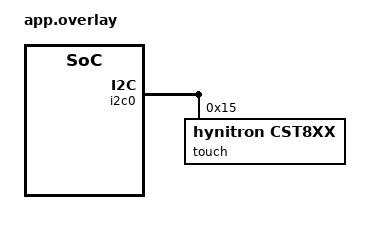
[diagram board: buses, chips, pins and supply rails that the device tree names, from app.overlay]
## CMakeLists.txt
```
# SPDX-License-Identifier: Apache-2.0
cmake_minimum_required(VERSION 3.20.0)
find_package(Zephyr REQUIRED HINTS $ENV{ZEPHYR_BASE})
project(entelea_touch_driver_test)

target_sources(app PRIVATE src/main.c)
```

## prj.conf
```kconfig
# SPDX-License-Identifier: Apache-2.0
CONFIG_ZTEST=y
CONFIG_TS_CORE=n
CONFIG_I2C=y
CONFIG_EMUL=y
CONFIG_I2C_EMUL=y
CONFIG_INPUT=y
CONFIG_INPUT_MODE_SYNCHRONOUS=y
CONFIG_INPUT_CST8XX=y
CONFIG_INPUT_CST8XX_INTERRUPT=n
CONFIG_INPUT_CST8XX_PERIOD_MS=10
```

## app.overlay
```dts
/* SPDX-License-Identifier: Apache-2.0 */
&i2c0 {
	status = "okay";

	touch: touchscreen@15 {
		compatible = "hynitron,cst8xx";
		reg = <0x15>;
		screen-width = <460>;
		screen-height = <460>;
		zephyr,deferred-init;
	};
};
```

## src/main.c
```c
// SPDX-License-Identifier: Apache-2.0
#include <errno.h>
#include <string.h>
#include <zephyr/drivers/emul.h>
#include <zephyr/drivers/i2c.h>
#include <zephyr/drivers/i2c_emul.h>
#include <zephyr/input/input.h>
#include <zephyr/ztest.h>

#define TOUCH DEVICE_DT_GET(DT_NODELABEL(touch))

struct frame {
	int32_t x;
	int32_t y;
	int32_t pressed;
	unsigned int coordinates;
};

static K_SEM_DEFINE(samples, 0, 1);
static K_SEM_DEFINE(read_done, 0, 1);
K_MSGQ_DEFINE(frames, sizeof(struct frame), 4, 4);
static uint8_t registers[256];
static int report_error;
static struct frame current;

static int transfer(const struct emul *target, struct i2c_msg *msgs, int count, int address)
{
	uint8_t reg;

	ARG_UNUSED(target);
	zassert_equal(address, 0x15);
	if (count == 1) {
		zassert_equal(msgs[0].len, 2);
		zassert_false(msgs[0].flags & I2C_MSG_READ);
		registers[msgs[0].buf[0]] = msgs[0].buf[1];
		return 0;
	}
	zassert_equal(count, 2);
	zassert_equal(msgs[0].len, 1);
	reg = msgs[0].buf[0];
	zassert_true(msgs[1].flags & I2C_MSG_READ);
	if (reg >= 2 && reg <= 6) {
		k_sem_take(&samples, K_FOREVER);
		zassert_equal(reg, 2, "Read finger count with coordinates in one transaction");
		zassert_equal(msgs[1].len, 5);
		zassert_true(msgs[1].flags & I2C_MSG_RESTART);
		zassert_true(msgs[1].flags & I2C_MSG_STOP);
		if (!report_error) {
			memcpy(msgs[1].buf, &registers[reg], msgs[1].len);
		}
		k_sem_give(&read_done);
		return report_error;
	}
	zassert_equal(msgs[1].len, 1);
	msgs[1].buf[0] = registers[reg];
	return 0;
}

static const struct i2c_emul_api bus_api = {
	.transfer = transfer,
};

static int emul_init(const struct emul *target, const struct device *parent)
{
	ARG_UNUSED(target);
	ARG_UNUSED(parent);
	registers[0xa7] = 0xb7;
	return 0;
}

EMUL_DT_DEFINE(DT_NODELABEL(touch), emul_init, NULL, NULL, &bus_api, NULL);

static void input_callback(struct input_event *event, void *user_data)
{
	ARG_UNUSED(user_data);
	if (event->type == INPUT_EV_ABS && event->code == INPUT_ABS_X) {
		current.x = event->value;
		current.coordinates++;
	} else if (event->type == INPUT_EV_ABS && event->code == INPUT_ABS_Y) {
		current.y = event->value;
		current.coordinates++;
	} else if (event->type == INPUT_EV_KEY && event->code == INPUT_BTN_TOUCH) {
		current.pressed = event->value;
		zassert_equal(k_msgq_put(&frames, &current, K_NO_WAIT), 0);
		current.coordinates = 0;
	}
}

INPUT_CALLBACK_DEFINE(TOUCH, input_callback, NULL);

static void *setup(void)
{
	zassert_equal(device_init(TOUCH), 0);
	return NULL;
}

static struct frame sample(uint8_t fingers, uint8_t event, uint16_t x, uint16_t y)
{
	struct frame frame;

	registers[2] = fingers;
	registers[3] = (event << 6) | ((x >> 8) & 0x0f);
	registers[4] = x;
	registers[5] = (fingers ? 0xa0 : 0) | ((y >> 8) & 0x0f);
	registers[6] = y;
	report_error = 0;
	k_sem_give(&samples);
	zassert_equal(k_sem_take(&read_done, K_SECONDS(1)), 0);
	zassert_equal(k_msgq_get(&frames, &frame, K_SECONDS(1)), 0);
	return frame;
}

ZTEST(touch_driver, test_idle_zero_report)
{
	struct frame frame = sample(0, 0, 0, 0);

	zassert_equal(frame.pressed, 0);
	zassert_equal(frame.coordinates, 0);
}

ZTEST(touch_driver, test_no_finger_stale_contact)
{
	struct frame frame = sample(0, 2, 459, 459);

	zassert_equal(frame.pressed, 0);
	zassert_equal(frame.coordinates, 0);
}

ZTEST(touch_driver, test_down_and_contact)
{
	for (uint8_t event = 0; event <= 2; event += 2) {
		struct frame frame = sample(1, event, 321, 459);

		zassert_equal(frame.pressed, 1);
		zassert_equal(frame.coordinates, 2);
		zassert_equal(frame.x, 321);
		zassert_equal(frame.y, 459);
	}
}

ZTEST(touch_driver, test_lift_and_none)
{
	for (uint8_t event = 1; event <= 3; event += 2) {
		struct frame frame = sample(1, event, 400, 300);

		zassert_equal(frame.pressed, 0);
		zassert_equal(frame.coordinates, 0);
	}
}

ZTEST(touch_driver, test_out_of_range_is_not_clipped)
{
	struct frame frame = sample(1, 0, 460, 4095);

	zassert_equal(frame.pressed, 1);
	zassert_equal(frame.x, 460);
	zassert_equal(frame.y, 4095);
}

ZTEST(touch_driver, test_bus_error_does_not_report_success)
{
	struct frame frame;

	report_error = -EIO;
	k_sem_give(&samples);
	zassert_equal(k_sem_take(&read_done, K_SECONDS(1)), 0);
	zassert_not_equal(k_msgq_get(&frames, &frame, K_MSEC(30)), 0);
	frame = sample(1, 0, 10, 20);
	zassert_equal(frame.pressed, 1);
	zassert_equal(frame.x, 10);
	zassert_equal(frame.y, 20);
}

ZTEST_SUITE(touch_driver, NULL, setup, NULL, NULL, NULL);
```
